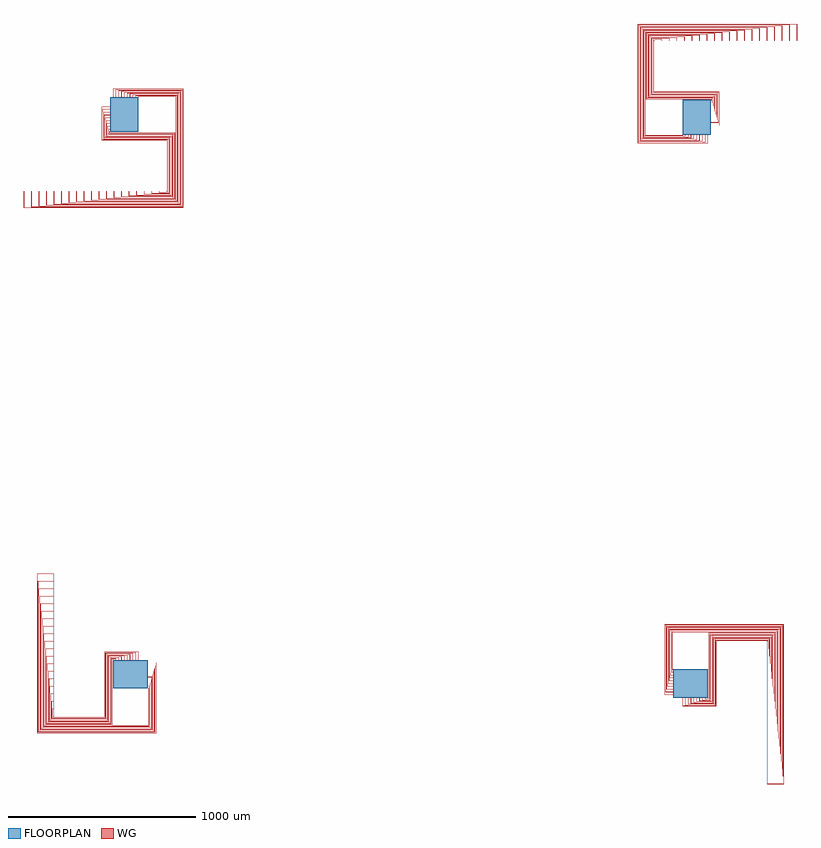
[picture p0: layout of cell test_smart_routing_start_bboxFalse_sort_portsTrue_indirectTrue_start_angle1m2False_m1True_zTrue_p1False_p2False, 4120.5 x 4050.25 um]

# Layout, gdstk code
import gdstk
lib = gdstk.Library(unit=1e-6, precision=1e-09)
def R(c, l, rs):  # rectangles x0, y0, x1, y1
    for r in rs: c.add(gdstk.rectangle(r[:2], r[2:], *l))
def P(c, l, *ps):  # polygons
    for p in ps: c.add(gdstk.Polygon(p, *l))
WG = (1, 0)
FLOORPLAN = (10, 0)

test_smart_routing_start = lib.new_cell('test_smart_routing_start_bboxFalse_sort_portsTrue_indirectTrue_start_angle1m2False_m1True_zTrue_p1False_p2False')
P(test_smart_routing_start, WG, [(199.75,2595.5),(199.75,2600),(200.25,2600),(200.25,2596),(204.25,2596),(204.25,2869.75),(-145,2869.75),(-145,3050.25),(-100,3050.25),(-100,3049.75),(-144.5,3049.75),(-144.5,2870.25),(204.75,2870.25),(204.75,2595.5)],
  [(159.75,2591),(159.75,2600),(160.25,2600),(160.25,2591.5),(208.75,2591.5),(208.75,2874.25),(-140.5,2874.25),(-140.5,3035.25),(-100,3035.25),(-100,3034.75),(-140,3034.75),(-140,2874.75),(209.25,2874.75),(209.25,2591)],
  [(119.75,2586.5),(119.75,2600),(120.25,2600),(120.25,2587),(213.25,2587),(213.25,2878.75),(-136,2878.75),(-136,3020.25),(-100,3020.25),(-100,3019.75),(-135.5,3019.75),(-135.5,2879.25),(213.75,2879.25),(213.75,2586.5)],
  [(79.75,2582),(79.75,2600),(80.25,2600),(80.25,2582.5),(217.75,2582.5),(217.75,2883.25),(-131.5,2883.25),(-131.5,3005.25),(-100,3005.25),(-100,3004.75),(-131,3004.75),(-131,2883.75),(218.25,2883.75),(218.25,2582)],
  [(39.75,2577.5),(39.75,2600),(40.25,2600),(40.25,2578),(222.25,2578),(222.25,2887.75),(-127,2887.75),(-127,2990.25),(-100,2990.25),(-100,2989.75),(-126.5,2989.75),(-126.5,2888.25),(222.75,2888.25),(222.75,2577.5)],
  [(-0.25,2573),(-0.25,2600),(0.25,2600),(0.25,2573.5),(226.75,2573.5),(226.75,2892.25),(-122.5,2892.25),(-122.5,2975.25),(-100,2975.25),(-100,2974.75),(-122,2974.75),(-122,2892.75),(227.25,2892.75),(227.25,2573)],
  [(-40.25,2568.5),(-40.25,2600),(-39.75,2600),(-39.75,2569),(231.25,2569),(231.25,2896.75),(-118,2896.75),(-118,2960.25),(-100,2960.25),(-100,2959.75),(-117.5,2959.75),(-117.5,2897.25),(231.75,2897.25),(231.75,2568.5)],
  [(-80.25,2564),(-80.25,2600),(-79.75,2600),(-79.75,2564.5),(235.75,2564.5),(235.75,2901.25),(-113.5,2901.25),(-113.5,2945.25),(-100,2945.25),(-100,2944.75),(-113,2944.75),(-113,2901.75),(236.25,2901.75),(236.25,2564)],
  [(-120.25,2559.5),(-120.25,2600),(-119.75,2600),(-119.75,2560),(240.25,2560),(240.25,2905.75),(-109,2905.75),(-109,2930.25),(-100,2930.25),(-100,2929.75),(-108.5,2929.75),(-108.5,2906.25),(240.75,2906.25),(240.75,2559.5)],
  [(-160.25,2555),(-160.25,2600),(-159.75,2600),(-159.75,2555.5),(244.75,2555.5),(244.75,2910.25),(-104.5,2910.25),(-104.5,2915.25),(-100,2915.25),(-100,2914.75),(-104,2914.75),(-104,2910.75),(245.25,2910.75),(245.25,2555)],
  [(-200.25,2550.5),(-200.25,2600),(-199.75,2600),(-199.75,2551),(249.25,2551),(249.25,3104),(50.25,3104),(50.25,3100),(49.75,3100),(49.75,3104.5),(249.75,3104.5),(249.75,2550.5)],
  [(-240.25,2546),(-240.25,2600),(-239.75,2600),(-239.75,2546.5),(253.75,2546.5),(253.75,3108.5),(35.25,3108.5),(35.25,3100),(34.75,3100),(34.75,3109),(254.25,3109),(254.25,2546)],
  [(-280.25,2541.5),(-280.25,2600),(-279.75,2600),(-279.75,2542),(258.25,2542),(258.25,3113),(20.25,3113),(20.25,3100),(19.75,3100),(19.75,3113.5),(258.75,3113.5),(258.75,2541.5)],
  [(-320.25,2537),(-320.25,2600),(-319.75,2600),(-319.75,2537.5),(262.75,2537.5),(262.75,3117.5),(5.25,3117.5),(5.25,3100),(4.75,3100),(4.75,3118),(263.25,3118),(263.25,2537)],
  [(-360.25,2532.5),(-360.25,2600),(-359.75,2600),(-359.75,2533),(267.25,2533),(267.25,3122),(-9.75,3122),(-9.75,3100),(-10.25,3100),(-10.25,3122.5),(267.75,3122.5),(267.75,2532.5)],
  [(-400.25,2528),(-400.25,2600),(-399.75,2600),(-399.75,2528.5),(271.75,2528.5),(271.75,3126.5),(-24.75,3126.5),(-24.75,3100),(-25.25,3100),(-25.25,3127),(272.25,3127),(272.25,2528)],
  [(-440.25,2523.5),(-440.25,2600),(-439.75,2600),(-439.75,2524),(276.25,2524),(276.25,3131),(-39.75,3131),(-39.75,3100),(-40.25,3100),(-40.25,3131.5),(276.75,3131.5),(276.75,2523.5)],
  [(-480.25,2519),(-480.25,2600),(-479.75,2600),(-479.75,2519.5),(280.75,2519.5),(280.75,3135.5),(-54.75,3135.5),(-54.75,3100),(-55.25,3100),(-55.25,3136),(281.25,3136),(281.25,2519)],
  [(-520.25,2514.5),(-520.25,2600),(-519.75,2600),(-519.75,2515),(285.25,2515),(285.25,3140),(-69.75,3140),(-69.75,3100),(-70.25,3100),(-70.25,3140.5),(285.75,3140.5),(285.75,2514.5)],
  [(-560.25,2510),(-560.25,2600),(-559.75,2600),(-559.75,2510.5),(289.75,2510.5),(289.75,3144.5),(-84.75,3144.5),(-84.75,3100),(-85.25,3100),(-85.25,3145),(290.25,3145),(290.25,2510)],
  [(-404.5,-204.75),(-404.5,-199.75),(-400,-199.75),(-400,-200.25),(-404,-200.25),(-404,-204.25),(-130.25,-204.25),(-130.25,145),(50.25,145),(50.25,100),(49.75,100),(49.75,144.5),(-129.75,144.5),(-129.75,-204.75)],
  [(-409,-209.25),(-409,-159.75),(-400,-159.75),(-400,-160.25),(-408.5,-160.25),(-408.5,-208.75),(-125.75,-208.75),(-125.75,140.5),(35.25,140.5),(35.25,100),(34.75,100),(34.75,140),(-125.25,140),(-125.25,-209.25)],
  [(-413.5,-213.75),(-413.5,-119.75),(-400,-119.75),(-400,-120.25),(-413,-120.25),(-413,-213.25),(-121.25,-213.25),(-121.25,136),(20.25,136),(20.25,100),(19.75,100),(19.75,135.5),(-120.75,135.5),(-120.75,-213.75)],
  [(-418,-218.25),(-418,-79.75),(-400,-79.75),(-400,-80.25),(-417.5,-80.25),(-417.5,-217.75),(-116.75,-217.75),(-116.75,131.5),(5.25,131.5),(5.25,100),(4.75,100),(4.75,131),(-116.25,131),(-116.25,-218.25)],
  [(-422.5,-222.75),(-422.5,-39.75),(-400,-39.75),(-400,-40.25),(-422,-40.25),(-422,-222.25),(-112.25,-222.25),(-112.25,127),(-9.75,127),(-9.75,100),(-10.25,100),(-10.25,126.5),(-111.75,126.5),(-111.75,-222.75)],
  [(-427,-227.25),(-427,0.25),(-400,0.25),(-400,-0.25),(-426.5,-0.25),(-426.5,-226.75),(-107.75,-226.75),(-107.75,122.5),(-24.75,122.5),(-24.75,100),(-25.25,100),(-25.25,122),(-107.25,122),(-107.25,-227.25)],
  [(-431.5,-231.75),(-431.5,40.25),(-400,40.25),(-400,39.75),(-431,39.75),(-431,-231.25),(-103.25,-231.25),(-103.25,118),(-39.75,118),(-39.75,100),(-40.25,100),(-40.25,117.5),(-102.75,117.5),(-102.75,-231.75)],
  [(-436,-236.25),(-436,80.25),(-400,80.25),(-400,79.75),(-435.5,79.75),(-435.5,-235.75),(-98.75,-235.75),(-98.75,113.5),(-54.75,113.5),(-54.75,100),(-55.25,100),(-55.25,113),(-98.25,113),(-98.25,-236.25)],
  [(-440.5,-240.75),(-440.5,120.25),(-400,120.25),(-400,119.75),(-440,119.75),(-440,-240.25),(-94.25,-240.25),(-94.25,109),(-69.75,109),(-69.75,100),(-70.25,100),(-70.25,108.5),(-93.75,108.5),(-93.75,-240.75)],
  [(-445,-245.25),(-445,160.25),(-400,160.25),(-400,159.75),(-444.5,159.75),(-444.5,-244.75),(-89.75,-244.75),(-89.75,104.5),(-84.75,104.5),(-84.75,100),(-85.25,100),(-85.25,104),(-89.25,104),(-89.25,-245.25)],
  [(-449.5,-249.75),(-449.5,200.25),(-400,200.25),(-400,199.75),(-449,199.75),(-449,-249.25),(104,-249.25),(104,-50.25),(100,-50.25),(100,-49.75),(104.5,-49.75),(104.5,-249.75)],
  [(-454,-254.25),(-454,240.25),(-400,240.25),(-400,239.75),(-453.5,239.75),(-453.5,-253.75),(108.5,-253.75),(108.5,-35.25),(100,-35.25),(100,-34.75),(109,-34.75),(109,-254.25)],
  [(-458.5,-258.75),(-458.5,280.25),(-400,280.25),(-400,279.75),(-458,279.75),(-458,-258.25),(113,-258.25),(113,-20.25),(100,-20.25),(100,-19.75),(113.5,-19.75),(113.5,-258.75)],
  [(-463,-263.25),(-463,320.25),(-400,320.25),(-400,319.75),(-462.5,319.75),(-462.5,-262.75),(117.5,-262.75),(117.5,-5.25),(100,-5.25),(100,-4.75),(118,-4.75),(118,-263.25)],
  [(-467.5,-267.75),(-467.5,360.25),(-400,360.25),(-400,359.75),(-467,359.75),(-467,-267.25),(122,-267.25),(122,9.75),(100,9.75),(100,10.25),(122.5,10.25),(122.5,-267.75)],
  [(-472,-272.25),(-472,400.25),(-400,400.25),(-400,399.75),(-471.5,399.75),(-471.5,-271.75),(126.5,-271.75),(126.5,24.75),(100,24.75),(100,25.25),(127,25.25),(127,-272.25)],
  [(-476.5,-276.75),(-476.5,440.25),(-400,440.25),(-400,439.75),(-476,439.75),(-476,-276.25),(131,-276.25),(131,39.75),(100,39.75),(100,40.25),(131.5,40.25),(131.5,-276.75)],
  [(-481,-281.25),(-481,480.25),(-400,480.25),(-400,479.75),(-480.5,479.75),(-480.5,-280.75),(135.5,-280.75),(135.5,54.75),(100,54.75),(100,55.25),(136,55.25),(136,-281.25)],
  [(-485.5,-285.75),(-485.5,520.25),(-400,520.25),(-400,519.75),(-485,519.75),(-485,-285.25),(140,-285.25),(140,69.75),(100,69.75),(100,70.25),(140.5,70.25),(140.5,-285.75)],
  [(-490,-290.25),(-490,560.25),(-400,560.25),(-400,559.75),(-489.5,559.75),(-489.5,-289.75),(144.5,-289.75),(144.5,84.75),(100,84.75),(100,85.25),(145,85.25),(145,-290.25)],
  [(2949.75,-145),(2949.75,-100),(2950.25,-100),(2950.25,-144.5),(3129.75,-144.5),(3129.75,204.75),(3404.5,204.75),(3404.5,199.75),(3400,199.75),(3400,200.25),(3404,200.25),(3404,204.25),(3130.25,204.25),(3130.25,-145)],
  [(2964.75,-140.5),(2964.75,-100),(2965.25,-100),(2965.25,-140),(3125.25,-140),(3125.25,209.25),(3409,209.25),(3409,159.75),(3400,159.75),(3400,160.25),(3408.5,160.25),(3408.5,208.75),(3125.75,208.75),(3125.75,-140.5)],
  [(2979.75,-136),(2979.75,-100),(2980.25,-100),(2980.25,-135.5),(3120.75,-135.5),(3120.75,213.75),(3413.5,213.75),(3413.5,119.75),(3400,119.75),(3400,120.25),(3413,120.25),(3413,213.25),(3121.25,213.25),(3121.25,-136)],
  [(2994.75,-131.5),(2994.75,-100),(2995.25,-100),(2995.25,-131),(3116.25,-131),(3116.25,218.25),(3418,218.25),(3418,79.75),(3400,79.75),(3400,80.25),(3417.5,80.25),(3417.5,217.75),(3116.75,217.75),(3116.75,-131.5)],
  [(3009.75,-127),(3009.75,-100),(3010.25,-100),(3010.25,-126.5),(3111.75,-126.5),(3111.75,222.75),(3422.5,222.75),(3422.5,39.75),(3400,39.75),(3400,40.25),(3422,40.25),(3422,222.25),(3112.25,222.25),(3112.25,-127)],
  [(3024.75,-122.5),(3024.75,-100),(3025.25,-100),(3025.25,-122),(3107.25,-122),(3107.25,227.25),(3427,227.25),(3427,-0.25),(3400,-0.25),(3400,0.25),(3426.5,0.25),(3426.5,226.75),(3107.75,226.75),(3107.75,-122.5)],
  [(3039.75,-118),(3039.75,-100),(3040.25,-100),(3040.25,-117.5),(3102.75,-117.5),(3102.75,231.75),(3431.5,231.75),(3431.5,-40.25),(3400,-40.25),(3400,-39.75),(3431,-39.75),(3431,231.25),(3103.25,231.25),(3103.25,-118)],
  [(3054.75,-113.5),(3054.75,-100),(3055.25,-100),(3055.25,-113),(3098.25,-113),(3098.25,236.25),(3436,236.25),(3436,-80.25),(3400,-80.25),(3400,-79.75),(3435.5,-79.75),(3435.5,235.75),(3098.75,235.75),(3098.75,-113.5)],
  [(3400,-120.25),(3400,-119.75),(3440,-119.75),(3440,240.25),(3094.25,240.25),(3094.25,-109),(3069.75,-109),(3069.75,-100),(3070.25,-100),(3070.25,-108.5),(3093.75,-108.5),(3093.75,240.75),(3440.5,240.75),(3440.5,-120.25)],
  [(3400,-160.25),(3400,-159.75),(3444.5,-159.75),(3444.5,244.75),(3089.75,244.75),(3089.75,-104.5),(3084.75,-104.5),(3084.75,-100),(3085.25,-100),(3085.25,-104),(3089.25,-104),(3089.25,245.25),(3445,245.25),(3445,-160.25)],
  [(3400,-200.25),(3400,-199.75),(3449,-199.75),(3449,249.25),(2896,249.25),(2896,50.25),(2900,50.25),(2900,49.75),(2895.5,49.75),(2895.5,249.75),(3449.5,249.75),(3449.5,-200.25)],
  [(3400,-240.25),(3400,-239.75),(3453.5,-239.75),(3453.5,253.75),(2891.5,253.75),(2891.5,35.25),(2900,35.25),(2900,34.75),(2891,34.75),(2891,254.25),(3454,254.25),(3454,-240.25)],
  [(3400,-280.25),(3400,-279.75),(3458,-279.75),(3458,258.25),(2887,258.25),(2887,20.25),(2900,20.25),(2900,19.75),(2886.5,19.75),(2886.5,258.75),(3458.5,258.75),(3458.5,-280.25)],
  [(3400,-320.25),(3400,-319.75),(3462.5,-319.75),(3462.5,262.75),(2882.5,262.75),(2882.5,5.25),(2900,5.25),(2900,4.75),(2882,4.75),(2882,263.25),(3463,263.25),(3463,-320.25)],
  [(3400,-360.25),(3400,-359.75),(3467,-359.75),(3467,267.25),(2878,267.25),(2878,-9.75),(2900,-9.75),(2900,-10.25),(2877.5,-10.25),(2877.5,267.75),(3467.5,267.75),(3467.5,-360.25)],
  [(3400,-400.25),(3400,-399.75),(3471.5,-399.75),(3471.5,271.75),(2873.5,271.75),(2873.5,-24.75),(2900,-24.75),(2900,-25.25),(2873,-25.25),(2873,272.25),(3472,272.25),(3472,-400.25)],
  [(3400,-440.25),(3400,-439.75),(3476,-439.75),(3476,276.25),(2869,276.25),(2869,-39.75),(2900,-39.75),(2900,-40.25),(2868.5,-40.25),(2868.5,276.75),(3476.5,276.75),(3476.5,-440.25)],
  [(3400,-480.25),(3400,-479.75),(3480.5,-479.75),(3480.5,280.75),(2864.5,280.75),(2864.5,-54.75),(2900,-54.75),(2900,-55.25),(2864,-55.25),(2864,281.25),(3481,281.25),(3481,-480.25)],
  [(3400,-520.25),(3400,-519.75),(3485,-519.75),(3485,285.25),(2860,285.25),(2860,-69.75),(2900,-69.75),(2900,-70.25),(2859.5,-70.25),(2859.5,285.75),(3485.5,285.75),(3485.5,-520.25)],
  [(3400,-560.25),(3400,-559.75),(3489.5,-559.75),(3489.5,289.75),(2855.5,289.75),(2855.5,-84.75),(2900,-84.75),(2900,-85.25),(2855,-85.25),(2855,290.25),(3490,290.25),(3490,-560.25)],
  [(3100,2949.75),(3100,2950.25),(3144.5,2950.25),(3144.5,3129.75),(2795.25,3129.75),(2795.25,3404.5),(2800.25,3404.5),(2800.25,3400),(2799.75,3400),(2799.75,3404),(2795.75,3404),(2795.75,3130.25),(3145,3130.25),(3145,2949.75)],
  [(3100,2964.75),(3100,2965.25),(3140,2965.25),(3140,3125.25),(2790.75,3125.25),(2790.75,3409),(2840.25,3409),(2840.25,3400),(2839.75,3400),(2839.75,3408.5),(2791.25,3408.5),(2791.25,3125.75),(3140.5,3125.75),(3140.5,2964.75)],
  [(3100,2979.75),(3100,2980.25),(3135.5,2980.25),(3135.5,3120.75),(2786.25,3120.75),(2786.25,3413.5),(2880.25,3413.5),(2880.25,3400),(2879.75,3400),(2879.75,3413),(2786.75,3413),(2786.75,3121.25),(3136,3121.25),(3136,2979.75)],
  [(3100,2994.75),(3100,2995.25),(3131,2995.25),(3131,3116.25),(2781.75,3116.25),(2781.75,3418),(2920.25,3418),(2920.25,3400),(2919.75,3400),(2919.75,3417.5),(2782.25,3417.5),(2782.25,3116.75),(3131.5,3116.75),(3131.5,2994.75)],
  [(3100,3009.75),(3100,3010.25),(3126.5,3010.25),(3126.5,3111.75),(2777.25,3111.75),(2777.25,3422.5),(2960.25,3422.5),(2960.25,3400),(2959.75,3400),(2959.75,3422),(2777.75,3422),(2777.75,3112.25),(3127,3112.25),(3127,3009.75)],
  [(3100,3024.75),(3100,3025.25),(3122,3025.25),(3122,3107.25),(2772.75,3107.25),(2772.75,3427),(3000.25,3427),(3000.25,3400),(2999.75,3400),(2999.75,3426.5),(2773.25,3426.5),(2773.25,3107.75),(3122.5,3107.75),(3122.5,3024.75)],
  [(3100,3039.75),(3100,3040.25),(3117.5,3040.25),(3117.5,3102.75),(2768.25,3102.75),(2768.25,3431.5),(3040.25,3431.5),(3040.25,3400),(3039.75,3400),(3039.75,3431),(2768.75,3431),(2768.75,3103.25),(3118,3103.25),(3118,3039.75)],
  [(3100,3054.75),(3100,3055.25),(3113,3055.25),(3113,3098.25),(2763.75,3098.25),(2763.75,3436),(3080.25,3436),(3080.25,3400),(3079.75,3400),(3079.75,3435.5),(2764.25,3435.5),(2764.25,3098.75),(3113.5,3098.75),(3113.5,3054.75)],
  [(3100,3069.75),(3100,3070.25),(3108.5,3070.25),(3108.5,3093.75),(2759.25,3093.75),(2759.25,3440.5),(3120.25,3440.5),(3120.25,3400),(3119.75,3400),(3119.75,3440),(2759.75,3440),(2759.75,3094.25),(3109,3094.25),(3109,3069.75)],
  [(3100,3084.75),(3100,3085.25),(3104,3085.25),(3104,3089.25),(2754.75,3089.25),(2754.75,3445),(3160.25,3445),(3160.25,3400),(3159.75,3400),(3159.75,3444.5),(2755.25,3444.5),(2755.25,3089.75),(3104.5,3089.75),(3104.5,3084.75)],
  [(2750.25,2895.5),(2750.25,3449.5),(3200.25,3449.5),(3200.25,3400),(3199.75,3400),(3199.75,3449),(2750.75,3449),(2750.75,2896),(2949.75,2896),(2949.75,2900),(2950.25,2900),(2950.25,2895.5)],
  [(2745.75,2891),(2745.75,3454),(3240.25,3454),(3240.25,3400),(3239.75,3400),(3239.75,3453.5),(2746.25,3453.5),(2746.25,2891.5),(2964.75,2891.5),(2964.75,2900),(2965.25,2900),(2965.25,2891)],
  [(2741.25,2886.5),(2741.25,3458.5),(3280.25,3458.5),(3280.25,3400),(3279.75,3400),(3279.75,3458),(2741.75,3458),(2741.75,2887),(2979.75,2887),(2979.75,2900),(2980.25,2900),(2980.25,2886.5)],
  [(2736.75,2882),(2736.75,3463),(3320.25,3463),(3320.25,3400),(3319.75,3400),(3319.75,3462.5),(2737.25,3462.5),(2737.25,2882.5),(2994.75,2882.5),(2994.75,2900),(2995.25,2900),(2995.25,2882)],
  [(2732.25,2877.5),(2732.25,3467.5),(3360.25,3467.5),(3360.25,3400),(3359.75,3400),(3359.75,3467),(2732.75,3467),(2732.75,2878),(3009.75,2878),(3009.75,2900),(3010.25,2900),(3010.25,2877.5)],
  [(2727.75,2873),(2727.75,3472),(3400.25,3472),(3400.25,3400),(3399.75,3400),(3399.75,3471.5),(2728.25,3471.5),(2728.25,2873.5),(3024.75,2873.5),(3024.75,2900),(3025.25,2900),(3025.25,2873)],
  [(2723.25,2868.5),(2723.25,3476.5),(3440.25,3476.5),(3440.25,3400),(3439.75,3400),(3439.75,3476),(2723.75,3476),(2723.75,2869),(3039.75,2869),(3039.75,2900),(3040.25,2900),(3040.25,2868.5)],
  [(2718.75,2864),(2718.75,3481),(3480.25,3481),(3480.25,3400),(3479.75,3400),(3479.75,3480.5),(2719.25,3480.5),(2719.25,2864.5),(3054.75,2864.5),(3054.75,2900),(3055.25,2900),(3055.25,2864)],
  [(2714.25,2859.5),(2714.25,3485.5),(3520.25,3485.5),(3520.25,3400),(3519.75,3400),(3519.75,3485),(2714.75,3485),(2714.75,2860),(3069.75,2860),(3069.75,2900),(3070.25,2900),(3070.25,2859.5)],
  [(2709.75,2855),(2709.75,3490),(3560.25,3490),(3560.25,3400),(3559.75,3400),(3559.75,3489.5),(2710.25,3489.5),(2710.25,2855.5),(3084.75,2855.5),(3084.75,2900),(3085.25,2900),(3085.25,2855)])
R(test_smart_routing_start, FLOORPLAN, [(2900,-100,3085,50), (-85,-50,100,100), (2950,2900,3100,3085), (-100,2915,50,3100)])
P(test_smart_routing_start, FLOORPLAN, [(-400,-200),(-400,560),(-400,560),(-400,-200)],
  [(-560,2600),(-560,2600),(200,2600),(200,2600)],
  [(3400,-560),(3400,200),(3400,200),(3400,-560)],
  [(2800,3400),(2800,3400),(3560,3400),(3560,3400)])

lib.write_gds('test_smart_routing_start_bboxFalse_sort_portsTrue_indirectTrue_start_angle1m2False_m1True_zTrue_p1False_p2False.gds')
